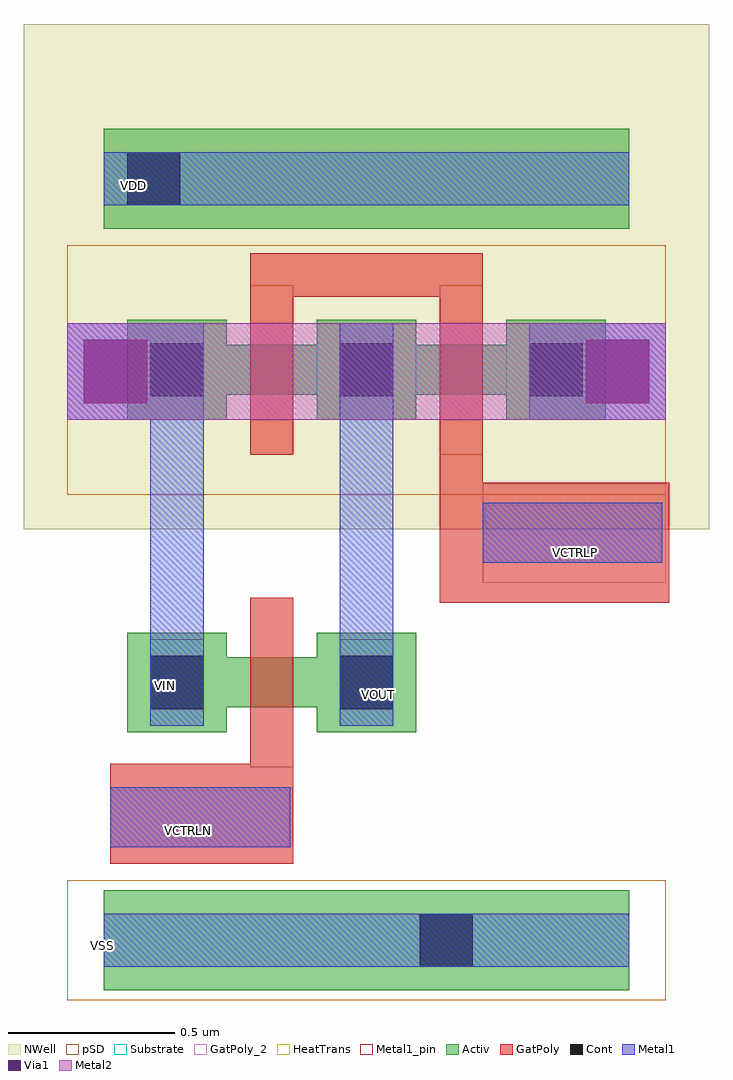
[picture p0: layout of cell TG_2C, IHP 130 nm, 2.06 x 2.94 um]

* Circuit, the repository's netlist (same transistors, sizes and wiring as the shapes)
* Extracted by KLayout with SG13G2 LVS runset on : 24/01/2026 15:34

.SUBCKT TG_2C VOUT VIN
M$1 VIN \$2 VOUT \$3 sg13_lv_pmos L=0.13u W=0.3u AS=0.156p AD=0.156p PS=2.08u
+ PD=2.08u
M$3 VIN \$1 VOUT \$4 sg13_lv_nmos L=0.13u W=0.15u AS=0.1005p AD=0.1005p
+ PS=1.34u PD=1.34u
.ENDS TG_2C

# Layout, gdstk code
import gdstk
lib = gdstk.Library(unit=1e-6, precision=5e-09)
def R(c, l, rs):  # rectangles x0, y0, x1, y1
    for r in rs: c.add(gdstk.rectangle(r[:2], r[2:], *l))
Activ = (1, 0)
GatPoly = (5, 0)
GatPoly_2 = (5, 2)
Cont = (6, 0)
Metal1 = (8, 0)
Metal1_pin = (8, 2)
Metal2 = (10, 0)
pSD = (14, 0)
Via1 = (19, 0)
NWell = (31, 0)
Substrate = (40, 0)
HeatTrans = (51, 0)

nmos_4_4 = lib.new_cell('nmos$4$4')
R(nmos_4_4, Activ, [(0,0.04,0.3,0.34), (0.57,0.04,0.87,0.34), (0,0.115,0.87,0.265)])
R(nmos_4_4, GatPoly, [(0.37,-0.065,0.5,0.445)])
R(nmos_4_4, GatPoly_2, [(0.37,-0.065,0.5,0.445)])
R(nmos_4_4, Cont, [(0.07,0.11,0.23,0.27), (0.64,0.11,0.8,0.27)])
R(nmos_4_4, Metal1, [(0.07,0.06,0.23,0.32), (0.64,0.06,0.8,0.32)])
R(nmos_4_4, Metal1_pin, [(0.07,0.06,0.23,0.32), (0.64,0.06,0.8,0.32)])
R(nmos_4_4, HeatTrans, [(0.37,-0.065,0.5,0.445)])
nmos_4_4.add(gdstk.Label('nmos', (0.435,0.19), layer=63, texttype=0))
nmos_4_4.add(gdstk.Label('nmos', (0.435,0.19), layer=51, texttype=0))

pmos_4_2 = lib.new_cell('pmos$4$2')
R(pmos_4_2, Activ, [(0,-0.04,0.3,0.26), (0.57,-0.04,0.87,0.26), (0,0.035,0.87,0.185)])
R(pmos_4_2, GatPoly, [(0.37,-0.145,0.5,0.365), (0.37,-0.145,0.5,0.365)])
R(pmos_4_2, Cont, [(0.07,0.03,0.23,0.19), (0.64,0.03,0.8,0.19)])
R(pmos_4_2, Metal1, [(0.07,-0.02,0.23,0.24), (0.07,-0.02,0.23,0.25), (0.64,-0.02,0.8,0.24), (0.64,-0.02,0.8,0.24)])
R(pmos_4_2, pSD, [(-0.18,-0.265,1.05,0.485)])
R(pmos_4_2, NWell, [(-0.31,-0.37,1.18,0.56)])
R(pmos_4_2, Substrate, [(0.57,-0.04,0.87,0.26)])
R(pmos_4_2, HeatTrans, [(0.37,-0.145,0.5,0.365)])
pmos_4_2.add(gdstk.Label('pmos', (0.435,0.11), layer=63, texttype=0))
pmos_4_2.add(gdstk.Label('pmos', (0.435,0.11), layer=51, texttype=0))

via1_constraint_2_6 = lib.new_cell('Via1_constraint$2$6')
R(via1_constraint_2_6, Metal1, [(0,0,0.29,0.29)])
R(via1_constraint_2_6, Metal2, [(0,0,0.29,0.29)])
R(via1_constraint_2_6, Via1, [(0.05,0.05,0.24,0.24)])

tg_2c = lib.new_cell('TG_2C')
R(tg_2c, Activ, [(0.24,0.035,1.82,0.335), (0.24,2.325,1.82,2.625)])
R(tg_2c, GatPoly_2, [(0.26,0.415,0.81,0.715), (1.38,1.26,1.93,1.56)])
R(tg_2c, Cont, [(1.19,0.105,1.35,0.265), (0.31,2.395,0.47,2.555)])
R(tg_2c, Metal1, [(0.24,0.105,1.82,0.265), (0.26,0.465,0.8,0.645), (1.38,1.32,1.92,1.5), (0.42,1.75,0.54,2.04), (1.52,1.75,1.64,2.04), (0.24,2.395,1.82,2.555)])
R(tg_2c, Metal1_pin, [(0.24,0.105,1.82,0.265), (0.26,0.465,0.8,0.645), (0.95,0.88,1.11,1.035), (1.38,1.32,1.92,1.5), (0.24,2.395,1.82,2.555)])
R(tg_2c, pSD, [(0.13,0.005,1.93,0.365)])
R(tg_2c, NWell, [(0,2.345,2.06,2.94)])
tg_2c.add(gdstk.FlexPath([(1.03,2.04),(1.03,0.83)], 0.16, ends="flush", simple_path=True, layer=8, datatype=0))  # Metal1
tg_2c.add(gdstk.FlexPath([(0.46,2.04),(0.46,0.83)], 0.16, ends="flush", simple_path=True, layer=8, datatype=0))  # Metal1
tg_2c.add(gdstk.FlexPath([(1.25,1.38),(1.94,1.38)], 0.36, ends="flush", simple_path=True, layer=5, datatype=0))  # GatPoly
tg_2c.add(gdstk.FlexPath([(0.26,0.565),(0.81,0.565),(0.81,0.565)], 0.3, ends="flush", simple_path=True, layer=5, datatype=0))  # GatPoly
tg_2c.add(gdstk.FlexPath([(1.315,1.645),(1.315,1.34),(1.315,1.26)], 0.13, ends="flush", simple_path=True, layer=5, datatype=0))  # GatPoly
tg_2c.add(gdstk.FlexPath([(0.745,2.085),(0.745,2.185),(1.315,2.185),(1.315,2.085)], 0.13, ends="flush", simple_path=True, layer=5, datatype=0))  # GatPoly
tg_2c.add(gdstk.FlexPath([(0.31,1.895),(1.75,1.895),(1.75,1.895)], 0.29, ends="flush", simple_path=True, layer=10, datatype=0))  # Metal2
tg_2c.add(gdstk.Reference(nmos_4_4, (0.31,0.77)))
tg_2c.add(gdstk.Reference(pmos_4_2, (0.31,1.79)))
tg_2c.add(gdstk.Reference(pmos_4_2, (0.88,1.79)))
tg_2c.add(gdstk.Reference(via1_constraint_2_6, (1.64,1.75)))
tg_2c.add(gdstk.Reference(via1_constraint_2_6, (0.13,1.75)))
tg_2c.add(gdstk.Label('VIN', (0.425,0.95), layer=8, texttype=25))
tg_2c.add(gdstk.Label('VOUT', (1.065,0.925), layer=8, texttype=25))
tg_2c.add(gdstk.Label('VDD', (0.33,2.455), layer=8, texttype=25))
tg_2c.add(gdstk.Label('VCTRLN', (0.495,0.515), layer=8, texttype=25))
tg_2c.add(gdstk.Label('VCTRLP', (1.66,1.35), layer=8, texttype=25))
tg_2c.add(gdstk.Label('VSS', (0.235,0.17), layer=8, texttype=25))

lib.write_gds('TG_2C.gds')
